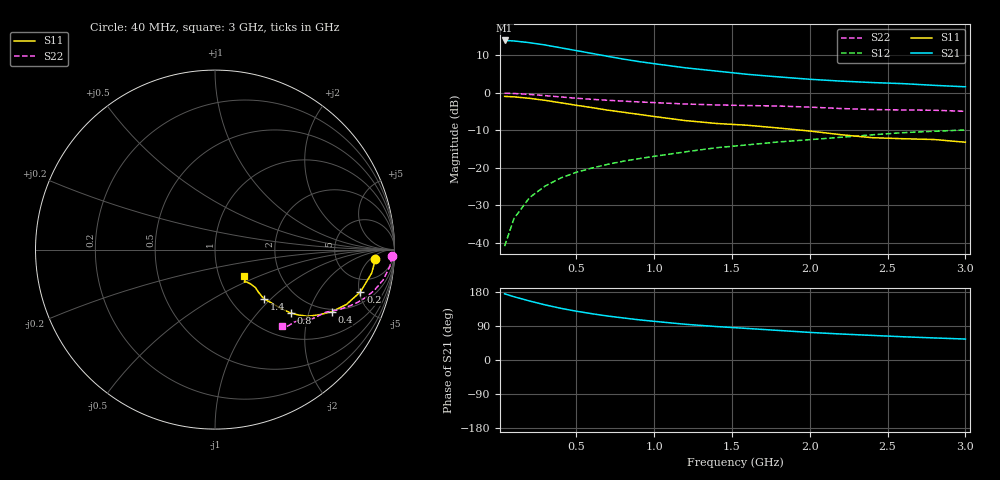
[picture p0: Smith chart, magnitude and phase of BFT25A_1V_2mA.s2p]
! Filename:  BFT25AE.S2P  Version:  2.0
! Philips part #: BFT25A  Date: Aug 1990
! Bias condition: Vce=1V, Ic=2mA
#  MHz  S  MA  R  50
! Freq  S11  S21  S12  S22  !GUM [dB]
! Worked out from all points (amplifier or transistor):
!   21 points, 40 MHz to 3 GHz, reference 50 ohm
!   highest |S21| = 14.0 dB at 40 MHz (marker M1)
!   |S21| within 3 dB of that: start of sweep to 540.1 MHz
!   unconditionally stable (mu >= 1): 1.547 GHz to end of sweep
!   at 300 MHz: K = 0.39, MSG = 18.8 dB, |S12| = -24.9 dB
!   at 1 GHz: K = 0.86, MSG = 12.4 dB, |S12| = -17.0 dB
!   at 3 GHz: K = 1.15, MAG = 3.4 dB, |S12| = -9.9 dB
!   S11 on the Smith chart (normalised r, x): 40 MHz: 14, -7; 200 MHz: 3.15, -5.15; 400 MHz: 1.88, -2.85; 800 MHz: 1.52, -1.54; 1.4 GHz: 1.41, -0.92; 3 GHz: 1.32, -0.41
40  0.895 -3.4  4.989 174.7  0.009 85.4  0.987 -2.2
100  0.883 -8.5  4.915 167.0  0.021 84.9  0.979 -5.4
200  0.844 -16.2  4.662 155.8  0.04 80.0  0.952 -10.2
300  0.793 -22.7  4.342 145.5  0.057 76.1  0.917 -14.3
400  0.736 -28.1  3.984 136.5  0.073 73.2  0.88 -17.7
500  0.682 -32.2  3.657 128.8  0.087 71.6  0.847 -20.3
600  0.635 -35.8  3.353 122.2  0.099 70.2  0.818 -22.4
700  0.588 -38.2  3.07 116.1  0.111 69.1  0.795 -24.0
800  0.551 -39.9  2.821 111.1  0.122 68.3  0.774 -25.3
900  0.516 -41.0  2.613 106.2  0.132 67.6  0.756 -26.5
1000  0.483 -42.0  2.445 102.1  0.142 66.9  0.74 -27.4
1200  0.426 -43.6  2.155 94.3  0.163 65.6  0.709 -29.5
1400  0.39 -45.0  1.949 88.3  0.185 64.7  0.689 -32.0
1600  0.369 -45.0  1.763 83.2  0.202 63.9  0.676 -33.7
1800  0.339 -44.4  1.629 78.0  0.221 63.0  0.666 -35.4
2000  0.309 -43.2  1.515 72.8  0.237 61.5  0.644 -36.9
2200  0.276 -43.9  1.432 68.6  0.255 60.1  0.617 -39.3
2400  0.252 -45.7  1.37 64.9  0.275 58.6  0.598 -42.6
2600  0.244 -47.9  1.324 61.3  0.294 57.3  0.59 -45.8
2800  0.238 -45.4  1.257 58.2  0.307 56.7  0.585 -47.4
3000  0.219 -41.9  1.202 55.3  0.319 56.1  0.566 -48.4
